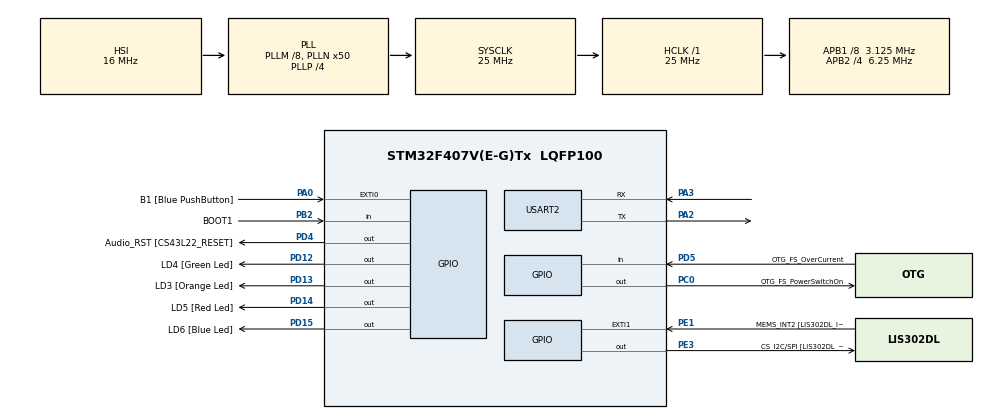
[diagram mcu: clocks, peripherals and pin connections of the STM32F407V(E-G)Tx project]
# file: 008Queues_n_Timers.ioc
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Mcu.Family=STM32F4
Mcu.Name=STM32F407V(E-G)Tx
Mcu.Package=LQFP100
NVIC.PriorityGroup=NVIC_PRIORITYGROUP_4
NVIC.TIM6_DAC_IRQn=true\:0\:0\:false\:false\:true\:false\:true
NVIC.TimeBase=TIM6_DAC_IRQn
NVIC.TimeBaseIP=TIM6
NVIC.USART2_IRQn=true\:6\:0\:true\:false\:true\:true\:true
PA0-WKUP.GPIO_Label=B1 [Blue PushButton]
PA0-WKUP.GPIO_ModeDefaultEXTI=GPIO_MODE_EVT_RISING
PA0-WKUP.GPIO_PuPd=GPIO_NOPULL
PA0-WKUP.Signal=GPXTI0
PA10.GPIO_Label=OTG_FS_ID
PA10.GPIO_Mode=GPIO_MODE_AF_PP
PA10.GPIO_PuPd=GPIO_NOPULL
PA10.GPIO_Speed=GPIO_SPEED_FREQ_LOW
PA10.Signal=USB_OTG_FS_ID
PA11.GPIO_Label=OTG_FS_DM
PA11.GPIO_Mode=GPIO_MODE_AF_PP
PA11.GPIO_PuPd=GPIO_NOPULL
PA11.GPIO_Speed=GPIO_SPEED_FREQ_LOW
PA11.Signal=USB_OTG_FS_DM
PA12.GPIO_Label=OTG_FS_DP
PA12.GPIO_Mode=GPIO_MODE_AF_PP
PA12.GPIO_PuPd=GPIO_NOPULL
PA12.GPIO_Speed=GPIO_SPEED_FREQ_LOW
PA12.Signal=USB_OTG_FS_DP
PA13.GPIO_Label=SWDIO
PA13.Signal=SYS_JTMS-SWDIO
PA14.GPIO_Label=SWCLK
PA14.Signal=SYS_JTCK-SWCLK
PA2.Mode=Asynchronous
PA2.Signal=USART2_TX
PA3.Mode=Asynchronous
PA3.Signal=USART2_RX
PA4.GPIO_Label=I2S3_WS [CS43L22_LRCK]
PA4.GPIO_Mode=GPIO_MODE_AF_PP
PA4.GPIO_PuPd=GPIO_NOPULL
PA4.GPIO_Speed=GPIO_SPEED_FREQ_LOW
PA4.Signal=I2S3_WS
PA5.GPIO_Label=SPI1_SCK [LIS302DL_SCL/SPC]
PA5.GPIO_Mode=GPIO_MODE_AF_PP
PA5.GPIO_PuPd=GPIO_NOPULL
PA5.GPIO_Speed=GPIO_SPEED_FREQ_LOW
PA5.Signal=SPI1_SCK
PA6.GPIO_Label=SPI1_MISO [LIS302DL_SDO]
PA6.GPIO_Mode=GPIO_MODE_AF_PP
PA6.GPIO_PuPd=GPIO_NOPULL
PA6.GPIO_Speed=GPIO_SPEED_FREQ_LOW
PA6.Signal=SPI1_MISO
PA7.GPIO_Label=SPI1_MOSI [LIS302DL_SDA/SDI/SDO]
PA7.GPIO_Mode=GPIO_MODE_AF_PP
PA7.GPIO_PuPd=GPIO_NOPULL
PA7.GPIO_Speed=GPIO_SPEED_FREQ_LOW
PA7.Signal=SPI1_MOSI
PA9.GPIO_Label=VBUS_FS
PA9.GPIO_Mode=GPIO_MODE_INPUT
PA9.GPIO_PuPd=GPIO_NOPULL
PA9.Signal=USB_OTG_FS_VBUS
PB10.GPIO_Label=CLK_IN [MP45DT02_CLK]
PB10.GPIO_Mode=GPIO_MODE_AF_PP
PB10.GPIO_PuPd=GPIO_NOPULL
PB10.GPIO_Speed=GPIO_SPEED_FREQ_LOW
PB10.Signal=I2S2_CK
PB2.GPIO_Label=BOOT1
PB2.GPIO_Mode=GPIO_MODE_INPUT
PB2.GPIO_PuPd=GPIO_NOPULL
PB2.Signal=GPIO_Input
PB3.GPIO_Label=SWO
PB3.Signal=SYS_JTDO-SWO
PB6.GPIO_Label=Audio_SCL [CS43L22_SCL]
PB6.GPIO_Mode=GPIO_MODE_AF_OD
PB6.GPIO_PuPd=GPIO_NOPULL
PB6.GPIO_Speed=GPIO_SPEED_FREQ_LOW
PB6.Signal=I2C1_SCL
PB9.GPIO_Label=Audio_SDA [CS43L22_SDA]
PB9.GPIO_Mode=GPIO_MODE_AF_OD
PB9.GPIO_PuPd=GPIO_NOPULL
PB9.GPIO_Speed=GPIO_SPEED_FREQ_LOW
PB9.Signal=I2C1_SDA
PC0.GPIO_Label=OTG_FS_PowerSwitchOn
PC0.GPIO_PuPd=GPIO_NOPULL
PC0.GPIO_Speed=GPIO_SPEED_FREQ_LOW
PC0.PinState=GPIO_PIN_SET
PC0.Signal=GPIO_Output
PC10.GPIO_Label=I2S3_SCK [CS43L22_SCLK]
PC10.GPIO_Mode=GPIO_MODE_AF_PP
PC10.GPIO_PuPd=GPIO_NOPULL
PC10.GPIO_Speed=GPIO_SPEED_FREQ_LOW
PC10.Signal=I2S3_CK
PC12.GPIO_Label=I2S3_SD [CS43L22_SDIN]
PC12.GPIO_Mode=GPIO_MODE_AF_PP
PC12.GPIO_PuPd=GPIO_NOPULL
PC12.GPIO_Speed=GPIO_SPEED_FREQ_LOW
PC12.Signal=I2S3_SD
PC14-OSC32_IN.GPIO_Label=PC14-OSC32_IN
PC14-OSC32_IN.Signal=RCC_OSC32_IN
PC15-OSC32_OUT.GPIO_Label=PC15-OSC32_OUT
PC15-OSC32_OUT.Signal=RCC_OSC32_OUT
PC3.GPIO_Label=PDM_OUT [MP45DT02_DOUT]
PC3.GPIO_Mode=GPIO_MODE_AF_PP
PC3.GPIO_PuPd=GPIO_NOPULL
PC3.GPIO_Speed=GPIO_SPEED_FREQ_LOW
PC3.Signal=I2S2_SD
PC7.GPIO_Label=I2S3_MCK [CS43L22_MCLK]
PC7.GPIO_Mode=GPIO_MODE_AF_PP
PC7.GPIO_PuPd=GPIO_NOPULL
PC7.GPIO_Speed=GPIO_SPEED_FREQ_LOW
PC7.Signal=I2S3_MCK
PD12.GPIO_Label=LD4 [Green Led]
PD12.GPIO_PuPd=GPIO_NOPULL
PD12.GPIO_Speed=GPIO_SPEED_FREQ_LOW
PD12.Signal=GPIO_Output
PD13.GPIO_Label=LD3 [Orange Led]
PD13.GPIO_PuPd=GPIO_NOPULL
PD13.GPIO_Speed=GPIO_SPEED_FREQ_LOW
PD13.Signal=GPIO_Output
PD14.GPIO_Label=LD5 [Red Led]
PD14.GPIO_PuPd=GPIO_NOPULL
PD14.GPIO_Speed=GPIO_SPEED_FREQ_LOW
PD14.Signal=GPIO_Output
PD15.GPIO_Label=LD6 [Blue Led]
PD15.GPIO_PuPd=GPIO_NOPULL
PD15.GPIO_Speed=GPIO_SPEED_FREQ_LOW
PD15.Signal=GPIO_Output
PD4.GPIO_Label=Audio_RST [CS43L22_RESET]
PD4.GPIO_PuPd=GPIO_NOPULL
PD4.GPIO_Speed=GPIO_SPEED_FREQ_LOW
PD4.Signal=GPIO_Output
PD5.GPIO_Label=OTG_FS_OverCurrent
PD5.GPIO_Mode=GPIO_MODE_INPUT
PD5.GPIO_PuPd=GPIO_NOPULL
PD5.Signal=GPIO_Input
PE1.GPIO_Label=MEMS_INT2 [LIS302DL_INT2]
PE1.GPIO_ModeDefaultEXTI=GPIO_MODE_EVT_RISING
PE1.GPIO_PuPd=GPIO_NOPULL
PE1.Signal=GPXTI1
PE3.GPIO_Label=CS_I2C/SPI [LIS302DL_CS_I2C/SPI]
PE3.GPIO_PuPd=GPIO_NOPULL
PE3.GPIO_Speed=GPIO_SPEED_FREQ_LOW
PE3.Signal=GPIO_Output
PH0-OSC_IN.GPIO_Label=PH0-OSC_IN
PH0-OSC_IN.Signal=RCC_OSC_IN
PH1-OSC_OUT.GPIO_Label=PH1-OSC_OUT
PH1-OSC_OUT.Signal=RCC_OSC_OUT
ProjectManager.HeapSize=0x200
ProjectManager.StackSize=0x400
ProjectManager.TargetToolchain=STM32CubeIDE
RCC.48MHZClocksFreq_Value=14285714.285714285
RCC.AHBFreq_Value=25000000
RCC.APB1CLKDivider=RCC_HCLK_DIV8
RCC.APB1Freq_Value=3125000
RCC.APB1TimFreq_Value=6250000
RCC.APB2CLKDivider=RCC_HCLK_DIV4
RCC.APB2Freq_Value=6250000
RCC.APB2TimFreq_Value=12500000
RCC.CortexFreq_Value=25000000
RCC.HCLKFreq_Value=25000000
RCC.HSE_VALUE=8000000
RCC.HSI_VALUE=16000000
RCC.LSE_VALUE=32768
RCC.PLLM=8
RCC.PLLN=50
RCC.PLLP=RCC_PLLP_DIV4
RCC.PLLQ=7
RCC.SYSCLKFreq_VALUE=25000000
RCC.SYSCLKSource=RCC_SYSCLKSOURCE_PLLCLK
RCC.VCOOutputFreq_Value=100000000
RTC.HourFormat=RTC_HOURFORMAT_12
USART2.VirtualMode=VM_ASYNC
VP_RTC_VS_RTC_Activate.Mode=RTC_Enabled
VP_SYS_VS_tim6.Mode=TIM6
board=STM32F4DISCOVERY

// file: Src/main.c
/* USER CODE BEGIN Header */
/**
  ******************************************************************************
  * @file           : main.c
  * @brief          : Main program body
  ******************************************************************************
  * @attention
  *
  * <h2><center>&copy; Copyright (c) 2024 STMicroelectronics.
  * All rights reserved.</center></h2>
  *
  * This software component is licensed by ST under BSD 3-Clause license,
  * the "License"; You may not use this file except in compliance with the
  * License. You may obtain a copy of the License at:
  *                        opensource.org/licenses/BSD-3-Clause
  *
  ******************************************************************************
  */
/* USER CODE END Header */

#include "main.h"

RTC_HandleTypeDef hrtc;

UART_HandleTypeDef huart2;

/* USER CODE BEGIN PV */
xTaskHandle handle_menu_task;
xTaskHandle handle_led_task;
xTaskHandle handle_rtc_task;
xTaskHandle handle_print_task;
xTaskHandle handle_cmd_task;

QueueHandle_t q_data;
QueueHandle_t q_print;

volatile uint8_t user_data;
state_t curr_state = sMainMenu;

/* USER CODE END PV */

void SystemClock_Config(void);
static void MX_GPIO_Init(void);
static void MX_RTC_Init(void);
static void MX_USART2_UART_Init(void);

int main(void)
{
  /* USER CODE BEGIN 1 */
	BaseType_t status;
  /* USER CODE END 1 */

  /* MCU Configuration--------------------------------------------------------*/

  /* Reset of all peripherals, Initializes the Flash interface and the Systick. */
  HAL_Init();

  /* Configure the system clock */
  SystemClock_Config();

  /* Initialize all configured peripherals */
  MX_GPIO_Init();
  MX_RTC_Init();
  MX_USART2_UART_Init();

  /* USER CODE BEGIN 2 */
	status = xTaskCreate(handler_menu_task, "Menu_Task", 250, NULL, 2, &handle_menu_task);
  configASSERT(status == pdPASS);

  status = xTaskCreate(handler_led_task, "LED_Task", 250, NULL, 2, &handle_led_task);
  configASSERT(status == pdPASS);

	status = xTaskCreate(handler_rtc_task, "RTC_Task", 250, NULL, 2, &handle_rtc_task);
  configASSERT(status == pdPASS);

  status = xTaskCreate(handler_print_task, "Print_Task", 250, NULL, 2, &handle_print_task);
  configASSERT(status == pdPASS);

  status = xTaskCreate(handler_cmd_task, "Command_handler_Task", 250, NULL, 2, &handle_cmd_task);
  configASSERT(status == pdPASS);

  q_data = xQueueCreate(10, sizeof(char));
  configASSERT(q_data != NULL);

  q_print = xQueueCreate(10, sizeof(size_t));
  configASSERT(q_print != NULL);

  HAL_UART_Receive_IT(&huart2, (uint8_t *)&user_data, 1);

  vTaskStartScheduler();
  /* USER CODE END 2 */

  /* Infinite loop */
  while (1)
  {

  }
}

void SystemClock_Config(void)
{
  RCC_OscInitTypeDef RCC_OscInitStruct = {0};
  RCC_ClkInitTypeDef RCC_ClkInitStruct = {0};
  RCC_PeriphCLKInitTypeDef PeriphClkInitStruct = {0};

  /** Configure the main internal regulator output voltage
  */
  __HAL_RCC_PWR_CLK_ENABLE();
  __HAL_PWR_VOLTAGESCALING_CONFIG(PWR_REGULATOR_VOLTAGE_SCALE1);
  /** Initializes the CPU, AHB and APB busses clocks
  */
  RCC_OscInitStruct.OscillatorType = RCC_OSCILLATORTYPE_HSI|RCC_OSCILLATORTYPE_LSI;
  RCC_OscInitStruct.HSIState = RCC_HSI_ON;
  RCC_OscInitStruct.HSICalibrationValue = RCC_HSICALIBRATION_DEFAULT;
  RCC_OscInitStruct.LSIState = RCC_LSI_ON;
  RCC_OscInitStruct.PLL.PLLState = RCC_PLL_ON;
  RCC_OscInitStruct.PLL.PLLSource = RCC_PLLSOURCE_HSI;
  RCC_OscInitStruct.PLL.PLLM = 8;
  RCC_OscInitStruct.PLL.PLLN = 50;
  RCC_OscInitStruct.PLL.PLLP = RCC_PLLP_DIV4;
  RCC_OscInitStruct.PLL.PLLQ = 7;
  if (HAL_RCC_OscConfig(&RCC_OscInitStruct) != HAL_OK)
  {
    Error_Handler();
  }
  /** Initializes the CPU, AHB and APB busses clocks
  */
  RCC_ClkInitStruct.ClockType = RCC_CLOCKTYPE_HCLK|RCC_CLOCKTYPE_SYSCLK
                              |RCC_CLOCKTYPE_PCLK1|RCC_CLOCKTYPE_PCLK2;
  RCC_ClkInitStruct.SYSCLKSource = RCC_SYSCLKSOURCE_PLLCLK;
  RCC_ClkInitStruct.AHBCLKDivider = RCC_SYSCLK_DIV1;
  RCC_ClkInitStruct.APB1CLKDivider = RCC_HCLK_DIV8;
  RCC_ClkInitStruct.APB2CLKDivider = RCC_HCLK_DIV4;

  if (HAL_RCC_ClockConfig(&RCC_ClkInitStruct, FLASH_LATENCY_0) != HAL_OK)
  {
    Error_Handler();
  }
  PeriphClkInitStruct.PeriphClockSelection = RCC_PERIPHCLK_RTC;
  PeriphClkInitStruct.RTCClockSelection = RCC_RTCCLKSOURCE_LSI;
  if (HAL_RCCEx_PeriphCLKConfig(&PeriphClkInitStruct) != HAL_OK)
  {
    Error_Handler();
  }
}

static void MX_RTC_Init(void)
{

  /** Initialize RTC Only
  */
  hrtc.Instance = RTC;
  hrtc.Init.HourFormat = RTC_HOURFORMAT_12;
  hrtc.Init.AsynchPrediv = 127;
  hrtc.Init.SynchPrediv = 255;
  hrtc.Init.OutPut = RTC_OUTPUT_DISABLE;
  hrtc.Init.OutPutPolarity = RTC_OUTPUT_POLARITY_HIGH;
  hrtc.Init.OutPutType = RTC_OUTPUT_TYPE_OPENDRAIN;
  if (HAL_RTC_Init(&hrtc) != HAL_OK)
  {
    Error_Handler();
  }

}

static void MX_USART2_UART_Init(void)
{

  huart2.Instance = USART2;
  huart2.Init.BaudRate = 115200;
  huart2.Init.WordLength = UART_WORDLENGTH_8B;
  huart2.Init.StopBits = UART_STOPBITS_1;
  huart2.Init.Parity = UART_PARITY_NONE;
  huart2.Init.Mode = UART_MODE_TX_RX;
  huart2.Init.HwFlowCtl = UART_HWCONTROL_NONE;
  huart2.Init.OverSampling = UART_OVERSAMPLING_16;
  if (HAL_UART_Init(&huart2) != HAL_OK)
  {
    Error_Handler();
  }

}

static void MX_GPIO_Init(void)
{
  GPIO_InitTypeDef GPIO_InitStruct = {0};

  /* GPIO Ports Clock Enable */
  __HAL_RCC_GPIOE_CLK_ENABLE();
  __HAL_RCC_GPIOC_CLK_ENABLE();
  __HAL_RCC_GPIOH_CLK_ENABLE();
  __HAL_RCC_GPIOA_CLK_ENABLE();
  __HAL_RCC_GPIOB_CLK_ENABLE();
  __HAL_RCC_GPIOD_CLK_ENABLE();

  /*Configure GPIO pin Output Level */
  HAL_GPIO_WritePin(CS_I2C_SPI_GPIO_Port, CS_I2C_SPI_Pin, GPIO_PIN_RESET);

  /*Configure GPIO pin Output Level */
  HAL_GPIO_WritePin(OTG_FS_PowerSwitchOn_GPIO_Port, OTG_FS_PowerSwitchOn_Pin, GPIO_PIN_SET);

  /*Configure GPIO pin Output Level */
  HAL_GPIO_WritePin(GPIOD, LD4_Pin|LD3_Pin|LD5_Pin|LD6_Pin
                          |Audio_RST_Pin, GPIO_PIN_RESET);

  /*Configure GPIO pin : CS_I2C_SPI_Pin */
  GPIO_InitStruct.Pin = CS_I2C_SPI_Pin;
  GPIO_InitStruct.Mode = GPIO_MODE_OUTPUT_PP;
  GPIO_InitStruct.Pull = GPIO_NOPULL;
  GPIO_InitStruct.Speed = GPIO_SPEED_FREQ_LOW;
  HAL_GPIO_Init(CS_I2C_SPI_GPIO_Port, &GPIO_InitStruct);

  /*Configure GPIO pin : OTG_FS_PowerSwitchOn_Pin */
  GPIO_InitStruct.Pin = OTG_FS_PowerSwitchOn_Pin;
  GPIO_InitStruct.Mode = GPIO_MODE_OUTPUT_PP;
  GPIO_InitStruct.Pull = GPIO_NOPULL;
  GPIO_InitStruct.Speed = GPIO_SPEED_FREQ_LOW;
  HAL_GPIO_Init(OTG_FS_PowerSwitchOn_GPIO_Port, &GPIO_InitStruct);

  /*Configure GPIO pin : PDM_OUT_Pin */
  GPIO_InitStruct.Pin = PDM_OUT_Pin;
  GPIO_InitStruct.Mode = GPIO_MODE_AF_PP;
  GPIO_InitStruct.Pull = GPIO_NOPULL;
  GPIO_InitStruct.Speed = GPIO_SPEED_FREQ_LOW;
  GPIO_InitStruct.Alternate = GPIO_AF5_SPI2;
  HAL_GPIO_Init(PDM_OUT_GPIO_Port, &GPIO_InitStruct);

  /*Configure GPIO pin : B1_Pin */
  GPIO_InitStruct.Pin = B1_Pin;
  GPIO_InitStruct.Mode = GPIO_MODE_EVT_RISING;
  GPIO_InitStruct.Pull = GPIO_NOPULL;
  HAL_GPIO_Init(B1_GPIO_Port, &GPIO_InitStruct);

  /*Configure GPIO pin : I2S3_WS_Pin */
  GPIO_InitStruct.Pin = I2S3_WS_Pin;
  GPIO_InitStruct.Mode = GPIO_MODE_AF_PP;
  GPIO_InitStruct.Pull = GPIO_NOPULL;
  GPIO_InitStruct.Speed = GPIO_SPEED_FREQ_LOW;
  GPIO_InitStruct.Alternate = GPIO_AF6_SPI3;
  HAL_GPIO_Init(I2S3_WS_GPIO_Port, &GPIO_InitStruct);

  /*Configure GPIO pins : SPI1_SCK_Pin SPI1_MISO_Pin SPI1_MOSI_Pin */
  GPIO_InitStruct.Pin = SPI1_SCK_Pin|SPI1_MISO_Pin|SPI1_MOSI_Pin;
  GPIO_InitStruct.Mode = GPIO_MODE_AF_PP;
  GPIO_InitStruct.Pull = GPIO_NOPULL;
  GPIO_InitStruct.Speed = GPIO_SPEED_FREQ_LOW;
  GPIO_InitStruct.Alternate = GPIO_AF5_SPI1;
  HAL_GPIO_Init(GPIOA, &GPIO_InitStruct);

  /*Configure GPIO pin : BOOT1_Pin */
  GPIO_InitStruct.Pin = BOOT1_Pin;
  GPIO_InitStruct.Mode = GPIO_MODE_INPUT;
  GPIO_InitStruct.Pull = GPIO_NOPULL;
  HAL_GPIO_Init(BOOT1_GPIO_Port, &GPIO_InitStruct);

  /*Configure GPIO pin : CLK_IN_Pin */
  GPIO_InitStruct.Pin = CLK_IN_Pin;
  GPIO_InitStruct.Mode = GPIO_MODE_AF_PP;
  GPIO_InitStruct.Pull = GPIO_NOPULL;
  GPIO_InitStruct.Speed = GPIO_SPEED_FREQ_LOW;
  GPIO_InitStruct.Alternate = GPIO_AF5_SPI2;
  HAL_GPIO_Init(CLK_IN_GPIO_Port, &GPIO_InitStruct);

  /*Configure GPIO pins : LD4_Pin LD3_Pin LD5_Pin LD6_Pin
                           Audio_RST_Pin */
  GPIO_InitStruct.Pin = LD4_Pin|LD3_Pin|LD5_Pin|LD6_Pin
                          |Audio_RST_Pin;
  GPIO_InitStruct.Mode = GPIO_MODE_OUTPUT_PP;
  GPIO_InitStruct.Pull = GPIO_NOPULL;
  GPIO_InitStruct.Speed = GPIO_SPEED_FREQ_LOW;
  HAL_GPIO_Init(GPIOD, &GPIO_InitStruct);

  /*Configure GPIO pins : I2S3_MCK_Pin I2S3_SCK_Pin I2S3_SD_Pin */
  GPIO_InitStruct.Pin = I2S3_MCK_Pin|I2S3_SCK_Pin|I2S3_SD_Pin;
  GPIO_InitStruct.Mode = GPIO_MODE_AF_PP;
  GPIO_InitStruct.Pull = GPIO_NOPULL;
  GPIO_InitStruct.Speed = GPIO_SPEED_FREQ_LOW;
  GPIO_InitStruct.Alternate = GPIO_AF6_SPI3;
  HAL_GPIO_Init(GPIOC, &GPIO_InitStruct);

  /*Configure GPIO pin : VBUS_FS_Pin */
  GPIO_InitStruct.Pin = VBUS_FS_Pin;
  GPIO_InitStruct.Mode = GPIO_MODE_INPUT;
  GPIO_InitStruct.Pull = GPIO_NOPULL;
  HAL_GPIO_Init(VBUS_FS_GPIO_Port, &GPIO_InitStruct);

  /*Configure GPIO pins : OTG_FS_ID_Pin OTG_FS_DM_Pin OTG_FS_DP_Pin */
  GPIO_InitStruct.Pin = OTG_FS_ID_Pin|OTG_FS_DM_Pin|OTG_FS_DP_Pin;
  GPIO_InitStruct.Mode = GPIO_MODE_AF_PP;
  GPIO_InitStruct.Pull = GPIO_NOPULL;
  GPIO_InitStruct.Speed = GPIO_SPEED_FREQ_LOW;
  GPIO_InitStruct.Alternate = GPIO_AF10_OTG_FS;
  HAL_GPIO_Init(GPIOA, &GPIO_InitStruct);

  /*Configure GPIO pin : OTG_FS_OverCurrent_Pin */
  GPIO_InitStruct.Pin = OTG_FS_OverCurrent_Pin;
  GPIO_InitStruct.Mode = GPIO_MODE_INPUT;
  GPIO_InitStruct.Pull = GPIO_NOPULL;
  HAL_GPIO_Init(OTG_FS_OverCurrent_GPIO_Port, &GPIO_InitStruct);

  /*Configure GPIO pins : Audio_SCL_Pin Audio_SDA_Pin */
  GPIO_InitStruct.Pin = Audio_SCL_Pin|Audio_SDA_Pin;
  GPIO_InitStruct.Mode = GPIO_MODE_AF_OD;
  GPIO_InitStruct.Pull = GPIO_PULLUP;
  GPIO_InitStruct.Speed = GPIO_SPEED_FREQ_LOW;
  GPIO_InitStruct.Alternate = GPIO_AF4_I2C1;
  HAL_GPIO_Init(GPIOB, &GPIO_InitStruct);

  /*Configure GPIO pin : MEMS_INT2_Pin */
  GPIO_InitStruct.Pin = MEMS_INT2_Pin;
  GPIO_InitStruct.Mode = GPIO_MODE_EVT_RISING;
  GPIO_InitStruct.Pull = GPIO_NOPULL;
  HAL_GPIO_Init(MEMS_INT2_GPIO_Port, &GPIO_InitStruct);

}

/* USER CODE BEGIN 4 */
void HAL_UART_RxCpltCallback(UART_HandleTypeDef *huart)
{
	uint8_t dummy = 0;
  // Is Queue full?
  if (xQueueIsQueueFullFromISR(q_data) == pdFALSE)
  	{
  		// Queue is not full, enqueue data byte
  		xQueueSendFromISR(q_data, (void *)&user_data, NULL);
  	}
  else
  	{
  		// Queue is full
  		if (user_data == '\n')
  			{
  				// Delete the last data byte of Queue
  				xQueueReceiveFromISR(q_data, (void *)&dummy, NULL);
				// Make the last data byte of Queue is '\n'
				xQueueSendFromISR(q_data, (void *)&user_data, NULL);
  			}
  	}

  if (user_data == '\n')
  	{
  		// Send the notification to Command handler task
  		xTaskNotifyFromISR(handle_cmd_task, 0, eNoAction, NULL);
  	}

  // Enable UART data byte reception again in IT mode
  HAL_UART_Receive_IT(&huart2, (uint8_t *)&user_data, 1);
}
/* USER CODE END 4 */

void HAL_TIM_PeriodElapsedCallback(TIM_HandleTypeDef *htim)
{
  if (htim->Instance == TIM6) {
    HAL_IncTick();
  }
}

void Error_Handler(void)
{
}

/************************ (C) COPYRIGHT STMicroelectronics *****END OF FILE****/
